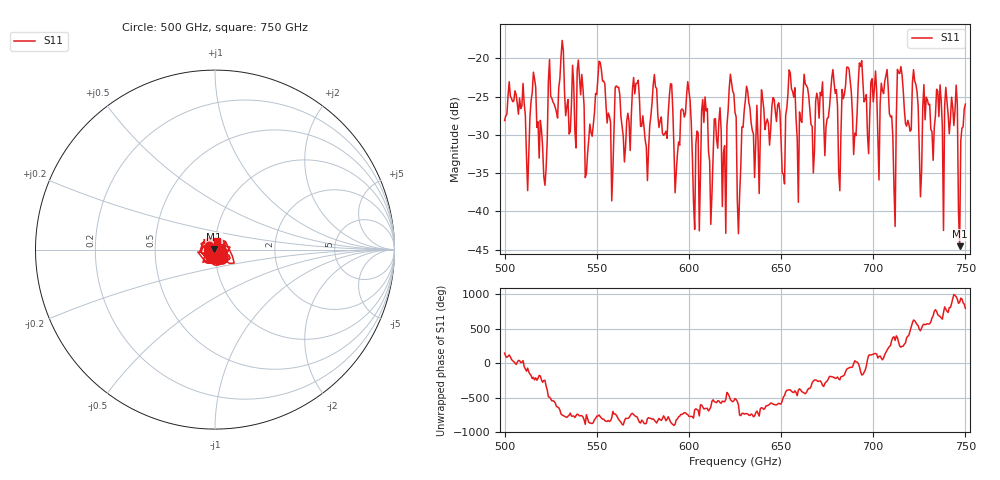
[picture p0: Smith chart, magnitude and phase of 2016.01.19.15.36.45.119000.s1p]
!Created with skrf (http://scikit-rf.org).
# GHz S RI R 50.0
!freq ReS11 ImS11
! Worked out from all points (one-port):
!   401 points, 500 GHz to 750 GHz, reference 50 ohm
!   lowest |S11| = -44.5 dB at 746.9 GHz (marker M1), VSWR 1.01, Z = 49.4 + j0.177 ohm
!   |S11| at or under -10 dB: start of sweep to end of sweep
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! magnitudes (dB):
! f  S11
! 500 GHz  -28.1
! 512.5 GHz  -37.3
! 515.6 GHz  -21.8
! 521.9 GHz  -36.6
! 531.2 GHz  -17.7
! 541.2 GHz  -24.8
! 545 GHz  -32.5
! 551.9 GHz  -20.5
! 558.1 GHz  -38.6
! 562.5 GHz  -24.7
! 590 GHz  -23.3
! 593.8 GHz  -32.6
! 599.4 GHz  -23.0
! 603.1 GHz  -42.3
! 608.1 GHz  -28.4
! 611.9 GHz  -41.7
! 625 GHz  -27.1
! 627.5 GHz  -37.9
! 631.2 GHz  -23.7
! 651.2 GHz  -35.1
! 656.2 GHz  -24.3
! 678.8 GHz  -23.2
! 681.9 GHz  -37.3
! 687.5 GHz  -23.0
! 718.8 GHz  -28.1
! 743.8 GHz  -28.8
! 746.9 GHz  -44.5
! 750 GHz  -26.0
